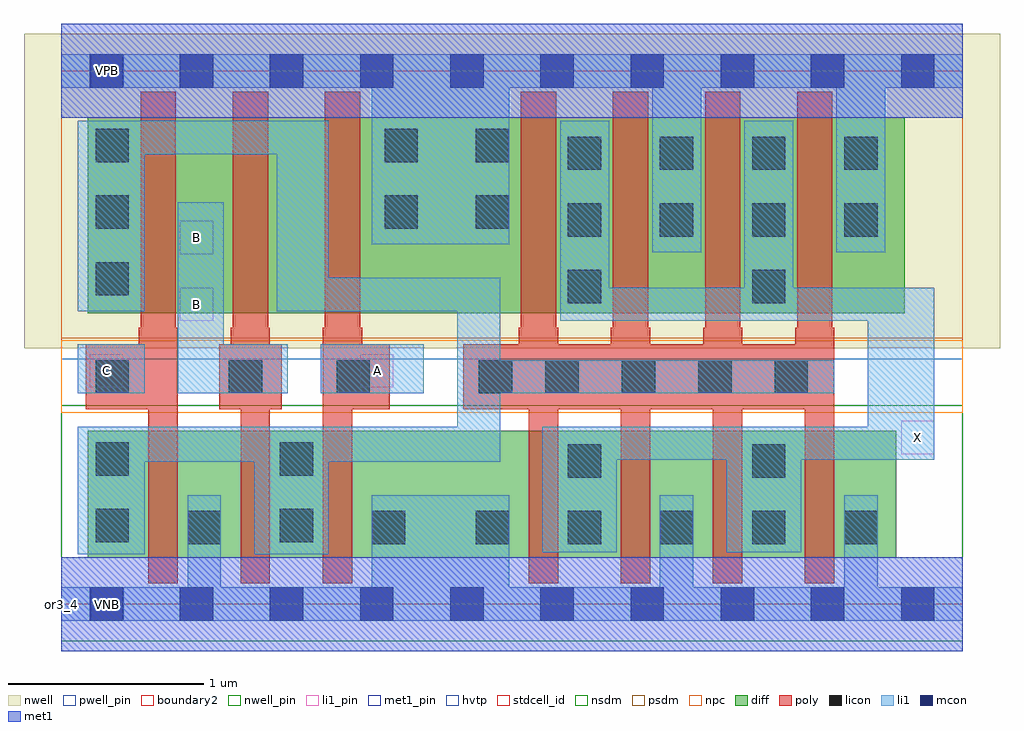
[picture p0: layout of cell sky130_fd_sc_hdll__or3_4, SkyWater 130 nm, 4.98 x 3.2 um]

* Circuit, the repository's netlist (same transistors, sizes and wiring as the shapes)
* Copyright 2020 The SkyWater PDK Authors
*
* Licensed under the Apache License, Version 2.0 (the "License");
* you may not use this file except in compliance with the License.
* You may obtain a copy of the License at
*
*     https://www.apache.org/licenses/LICENSE-2.0
*
* Unless required by applicable law or agreed to in writing, software
* distributed under the License is distributed on an "AS IS" BASIS,
* WITHOUT WARRANTIES OR CONDITIONS OF ANY KIND, either express or implied.
* See the License for the specific language governing permissions and
* limitations under the License.
*
* SPDX-License-Identifier: Apache-2.0

.SUBCKT sky130_fd_sc_hdll__or3_4 A B C VGND VNB VPB VPWR X
*.PININFO A:I B:I C:I VGND:I VNB:I VPB:I VPWR:I X:O
MMP0 VPWR A sndPA VPB sky130_fd_pr__pfet_01v8_hvt m=1 w=1.0U l=0.18U mult=1 sa=0.265
+ sb=0.265 sd=0.28 area=0.063 perim=1.14
MMP1 sndPA B sndPB VPB sky130_fd_pr__pfet_01v8_hvt m=1 w=1.0U l=0.18U mult=1 sa=0.265
+ sb=0.265 sd=0.28 area=0.063 perim=1.14
MMP2 sndPB C y VPB sky130_fd_pr__pfet_01v8_hvt m=1 w=1.0U l=0.18U mult=1 sa=0.265
+ sb=0.265 sd=0.28 area=0.063 perim=1.14
MMIP3 X y VPWR VPB sky130_fd_pr__pfet_01v8_hvt m=4 w=1.0U l=0.18U mult=1 sa=0.265
+ sb=0.265 sd=0.28 area=0.063 perim=1.14
MMN0 y A VGND VNB sky130_fd_pr__nfet_01v8 m=1 w=0.65U l=0.15U mult=1 sa=0.265 sb=0.265
+ sd=0.28 area=0.063 perim=1.14
MMN1 y B VGND VNB sky130_fd_pr__nfet_01v8 m=1 w=0.65U l=0.15U mult=1 sa=0.265 sb=0.265
+ sd=0.28 area=0.063 perim=1.14
MMN2 y C VGND VNB sky130_fd_pr__nfet_01v8 m=1 w=0.65U l=0.15U mult=1 sa=0.265 sb=0.265
+ sd=0.28 area=0.063 perim=1.14
MMIN3 X y VGND VNB sky130_fd_pr__nfet_01v8 m=4 w=0.65U l=0.15U mult=1 sa=0.265
+ sb=0.265 sd=0.28 area=0.063 perim=1.14
.ENDS sky130_fd_sc_hdll__or3_4

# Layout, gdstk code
import gdstk
lib = gdstk.Library(unit=1e-6, precision=1e-09)
def R(c, l, rs):  # rectangles x0, y0, x1, y1
    for r in rs: c.add(gdstk.rectangle(r[:2], r[2:], *l))
def A(c, l, x, y, w, h, nx, ny, dx, dy):  # array of equal rectangles
    R(c, l, [(x+i*dx, y+j*dy, x+i*dx+w, y+j*dy+h) for i in range(nx) for j in range(ny)])
def P(c, l, *ps):  # polygons
    for p in ps: c.add(gdstk.Polygon(p, *l))
nwell_pin = (64, 16)
nwell = (64, 20)
diff = (65, 20)
poly = (66, 20)
licon = (66, 44)
li1_pin = (67, 16)
li1 = (67, 20)
mcon = (67, 44)
met1_pin = (68, 16)
met1 = (68, 20)
hvtp = (78, 44)
stdcell_id = (81, 4)
nsdm = (93, 44)
psdm = (94, 20)
npc = (95, 20)
pwell_pin = (122, 16)
boundary2 = (236, 0)

sky130_fd_sc_hdll__or3_4 = lib.new_cell('sky130_fd_sc_hdll__or3_4')
R(sky130_fd_sc_hdll__or3_4, nwell_pin, [(0.15,2.635,0.32,2.805)])
R(sky130_fd_sc_hdll__or3_4, nwell, [(-0.19,1.305,4.79,2.91)])
R(sky130_fd_sc_hdll__or3_4, diff, [(0.135,0.235,4.26,0.885), (0.135,1.485,4.305,2.485)])
P(sky130_fd_sc_hdll__or3_4, poly, [(0.595,1.41),(0.585,1.41),(0.585,2.615),(0.405,2.615),(0.405,1.41),(0.395,1.41),(0.395,1.325),(0.125,1.325),(0.125,0.995),(0.445,0.995),(0.445,0.105),(0.595,0.105)],
  [(1.125,1.325),(1.065,1.325),(1.065,1.41),(1.055,1.41),(1.055,2.615),(0.875,2.615),(0.875,1.41),(0.865,1.41),(0.865,1.325),(0.805,1.325),(0.805,0.995),(0.915,0.995),(0.915,0.105),(1.065,0.105),(1.065,0.995),(1.125,0.995)],
  [(1.675,1.325),(1.535,1.325),(1.535,1.41),(1.525,1.41),(1.525,2.615),(1.345,2.615),(1.345,1.41),(1.335,1.41),(1.335,0.105),(1.485,0.105),(1.485,0.995),(1.675,0.995)],
  [(3.945,1.41),(3.935,1.41),(3.935,2.615),(3.755,2.615),(3.755,1.41),(3.745,1.41),(3.745,1.325),(3.475,1.325),(3.475,1.41),(3.465,1.41),(3.465,2.615),(3.285,2.615),(3.285,1.41),(3.275,1.41),(3.275,1.325),(3.005,1.325),(3.005,1.41),(2.995,1.41),(2.995,2.615),(2.815,2.615),(2.815,1.41),(2.805,1.41),(2.805,1.325),(2.535,1.325),(2.535,1.41),(2.525,1.41),(2.525,2.615),(2.345,2.615),(2.345,1.41),(2.335,1.41),(2.335,1.325),(2.05,1.325),(2.05,0.995),(2.385,0.995),(2.385,0.105),(2.535,0.105),(2.535,0.995),(2.855,0.995),(2.855,0.105),(3.005,0.105),(3.005,0.995),(3.325,0.995),(3.325,0.105),(3.475,0.105),(3.475,0.995),(3.795,0.995),(3.795,0.105),(3.945,0.105)])
A(sky130_fd_sc_hdll__or3_4, licon, 2.115, 0.305, 0.17, 0.17, 5, 1, 0.47, 0)
A(sky130_fd_sc_hdll__or3_4, licon, 2.47, 1.075, 0.17, 0.17, 4, 1, 0.39, 0)
A(sky130_fd_sc_hdll__or3_4, licon, 0.175, 1.575, 0.17, 0.17, 1, 3, 0, 0.34)
A(sky130_fd_sc_hdll__or3_4, licon, 2.585, 1.875, 0.17, 0.17, 4, 2, 0.47, 0.34)
R(sky130_fd_sc_hdll__or3_4, licon, [(0.645,0.305,0.815,0.475), (1.585,0.305,1.755,0.475), (0.175,0.315,0.345,0.485), (1.115,0.315,1.285,0.485), (2.585,0.645,2.755,0.815), (3.525,0.645,3.695,0.815), (0.175,0.655,0.345,0.825), (1.115,0.655,1.285,0.825), (0.175,1.075,0.345,1.245), (0.855,1.075,1.025,1.245), (1.405,1.075,1.575,1.245), (2.13,1.075,2.3,1.245), (2.585,1.535,2.755,1.705), (3.525,1.535,3.695,1.705), (1.65,1.915,1.82,2.085), (2.115,1.915,2.285,2.085), (1.65,2.255,1.82,2.425), (2.115,2.255,2.285,2.425)])
R(sky130_fd_sc_hdll__or3_4, li1_pin, [(4.285,0.765,4.455,0.935), (0.145,1.105,0.315,1.275), (1.525,1.105,1.695,1.275), (0.605,1.445,0.775,1.615), (0.605,1.785,0.775,1.955)])
R(sky130_fd_sc_hdll__or3_4, li1, [(0.085,1.075,0.425,1.325), (1.325,1.075,1.85,1.325)])
P(sky130_fd_sc_hdll__or3_4, li1, [(1.155,1.325),(0.83,1.325),(0.83,2.05),(0.595,2.05),(0.595,1.075),(1.155,1.075)],
  [(3.945,1.245),(2.24,1.245),(2.24,1.665),(1.365,1.665),(1.365,2.465),(0.085,2.465),(0.085,1.495),(0.425,1.495),(0.425,2.295),(1.1,2.295),(1.1,1.495),(2.02,1.495),(2.02,0.905),(0.085,0.905),(0.085,0.255),(0.425,0.255),(0.425,0.725),(0.985,0.725),(0.985,0.255),(1.365,0.255),(1.365,0.725),(2.24,0.725),(2.24,1.075),(3.945,1.075)],
  [(4.6,0.085),(4.165,0.085),(4.165,0.555),(3.995,0.555),(3.995,0.085),(3.225,0.085),(3.225,0.555),(3.055,0.555),(3.055,0.085),(2.285,0.085),(2.285,0.555),(1.585,0.555),(1.585,0.085),(0.815,0.085),(0.815,0.555),(0.645,0.555),(0.645,0.085),(0,0.085),(0,-0.085),(4.6,-0.085)],
  [(4.6,2.805),(0,2.805),(0,2.635),(1.585,2.635),(1.585,1.835),(2.285,1.835),(2.285,2.635),(3.015,2.635),(3.015,1.795),(3.265,1.795),(3.265,2.635),(3.955,2.635),(3.955,1.795),(4.205,1.795),(4.205,2.635),(4.6,2.635)],
  [(4.455,1.615),(3.735,1.615),(3.735,2.465),(3.485,2.465),(3.485,1.615),(2.795,1.615),(2.795,2.465),(2.545,2.465),(2.545,1.445),(4.115,1.445),(4.115,0.905),(2.455,0.905),(2.455,0.265),(2.835,0.265),(2.835,0.735),(3.395,0.735),(3.395,0.265),(3.775,0.265),(3.775,0.735),(4.455,0.735)])
A(sky130_fd_sc_hdll__or3_4, mcon, 0.145, -0.085, 0.17, 0.17, 10, 2, 0.46, 2.72)
R(sky130_fd_sc_hdll__or3_4, met1_pin, [(0.15,-0.085,0.32,0.085), (0.15,2.635,0.32,2.805)])
R(sky130_fd_sc_hdll__or3_4, met1, [(0,-0.24,4.6,0.24), (0,2.48,4.6,2.96)])
R(sky130_fd_sc_hdll__or3_4, hvtp, [(0,1.25,4.6,2.72)])
R(sky130_fd_sc_hdll__or3_4, stdcell_id, [(0,0,4.6,2.72)])
R(sky130_fd_sc_hdll__or3_4, nsdm, [(0,-0.19,4.6,1.015)])
R(sky130_fd_sc_hdll__or3_4, psdm, [(0,1.355,4.6,2.91)])
R(sky130_fd_sc_hdll__or3_4, npc, [(0,0.975,4.6,1.345)])
R(sky130_fd_sc_hdll__or3_4, pwell_pin, [(0.15,-0.085,0.32,0.085)])
R(sky130_fd_sc_hdll__or3_4, boundary2, [(0,0,4.6,2.72)])
sky130_fd_sc_hdll__or3_4.add(gdstk.Label('A', (1.615,1.19), layer=67, texttype=5))
sky130_fd_sc_hdll__or3_4.add(gdstk.Label('X', (4.37,0.85), layer=67, texttype=5))
sky130_fd_sc_hdll__or3_4.add(gdstk.Label('B', (0.69,1.87), layer=67, texttype=5))
sky130_fd_sc_hdll__or3_4.add(gdstk.Label('C', (0.23,1.19), layer=67, texttype=5))
sky130_fd_sc_hdll__or3_4.add(gdstk.Label('B', (0.69,1.53), layer=67, texttype=5))
sky130_fd_sc_hdll__or3_4.add(gdstk.Label('VPB', (0.235,2.72), layer=64, texttype=5))
sky130_fd_sc_hdll__or3_4.add(gdstk.Label('VNB', (0.235,0), layer=64, texttype=59))
sky130_fd_sc_hdll__or3_4.add(gdstk.Label('VPWR', (0.23,2.72), layer=68, texttype=5))
sky130_fd_sc_hdll__or3_4.add(gdstk.Label('VGND', (0.23,0), layer=68, texttype=5))
sky130_fd_sc_hdll__or3_4.add(gdstk.Label('or3_4', (0,0), layer=83, texttype=44))

lib.write_gds('sky130_fd_sc_hdll__or3_4.gds')
